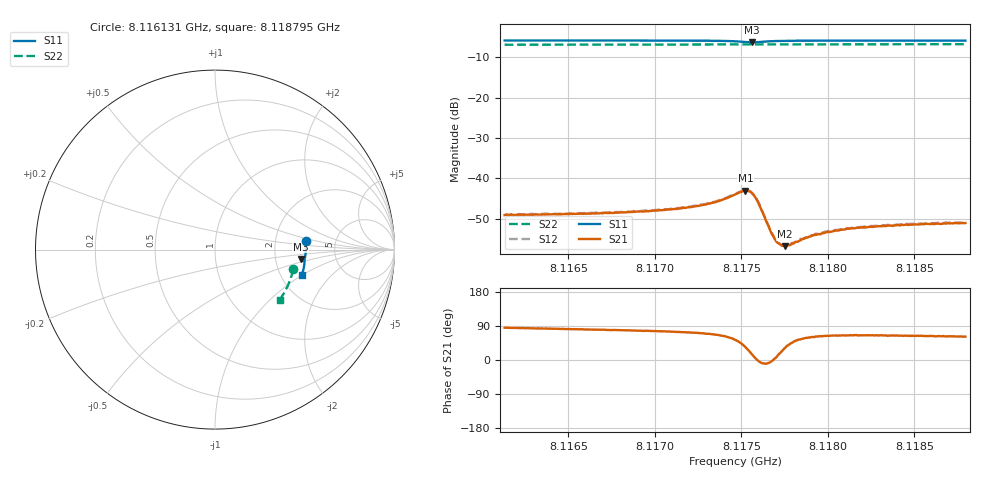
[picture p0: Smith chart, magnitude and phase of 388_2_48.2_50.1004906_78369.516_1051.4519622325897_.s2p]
#  HZ  S  RI  R  50.00
! Rohde & Schwarz Vector Network Analyzer
! Rohde-Schwarz,ZNB20-2Port,1311601062101988,3.16
! Created: UTC 3/20/2024, 11:53:30 AM
! freq[Hz]  re:S11  im:S11  re:S21  im:S21  re:S12  im:S12  re:S22  im:S22
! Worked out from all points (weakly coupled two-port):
!   401 points, 8.116131 GHz to 8.118795 GHz, reference 50 ohm
!   highest |S21| = -43.05 dB at 8.117523 GHz (marker M1); lowest = -56.8 dB at 8.117749 GHz (marker M2)
!   lowest |S11| = -6.4 dB at 8.117563 GHz (marker M3), VSWR 2.85, Z = 139 - j19 ohm
!   |S11| at or under -10 dB: nowhere
!   |S22| runs from -7.0 to -6.8 dB; largest |S21 - S12| = 0.00019
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8.1161308e9  0.5048 0.0485  0.000298 0.00351  0.000347 0.00357  0.4355 -0.1102
8.1165771e9  0.5063 0.0148  0.000589 0.00361  0.000631 0.00366  0.428 -0.1399
8.1170233e9  0.5052 -0.0197  0.000991 0.00392  0.00104 0.00398  0.4184 -0.1696
8.1171299e9  0.5043 -0.0285  0.00117 0.00405  0.00119 0.00412  0.4157 -0.1767
8.1172897e9  0.502 -0.0424  0.00164 0.00446  0.00168 0.0045  0.4115 -0.1871
8.1173763e9  0.499 -0.0509  0.00226 0.00482  0.00233 0.0049  0.409 -0.1927
8.1174629e9  0.4918 -0.0595  0.00375 0.00507  0.00392 0.00513  0.4063 -0.1982
8.1175228e9  0.4812 -0.0603  0.00582 0.00396  0.00598 0.00399  0.4042 -0.2019
8.1175428e9  0.478 -0.0571  0.00631 0.00289  0.00647 0.00289  0.4036 -0.2029
8.1175628e9  0.477 -0.0525  0.00631 0.00155  0.00643 0.00157  0.4031 -0.204
8.1175961e9  0.4813 -0.0464  0.00507 -0.000154  0.00518 -0.000184  0.4024 -0.2057
8.1176627e9  0.493 -0.0486  0.00236 -0.000285  0.00238 -0.000301  0.4011 -0.2099
8.1176893e9  0.4954 -0.0519  0.00183 8.91e-05  0.00188 5.02e-05  0.4003 -0.2118
8.1177026e9  0.4964 -0.0535  0.00163 0.000222  0.00169 0.000205  0.4 -0.2127
8.1177226e9  0.4973 -0.0559  0.00146 0.00047  0.00147 0.000476  0.3994 -0.2138
8.1177493e9  0.498 -0.0589  0.00124 0.000748  0.0013 0.000753  0.3985 -0.2157
8.1177892e9  0.4987 -0.0633  0.00108 0.00108  0.00114 0.0011  0.3974 -0.2183
8.1179091e9  0.4986 -0.0749  0.000956 0.0017  0.000977 0.00173  0.3938 -0.2258
8.1179957e9  0.4977 -0.0822  0.000951 0.00195  0.00101 0.00199  0.3907 -0.2312
8.1181222e9  0.4962 -0.0924  0.00101 0.00217  0.00104 0.00219  0.3864 -0.2391
8.1183553e9  0.4926 -0.1103  0.00114 0.00234  0.00114 0.00239  0.3782 -0.2531
8.1187949e9  0.484 -0.1425  0.00133 0.00247  0.00135 0.00251  0.3611 -0.2789
